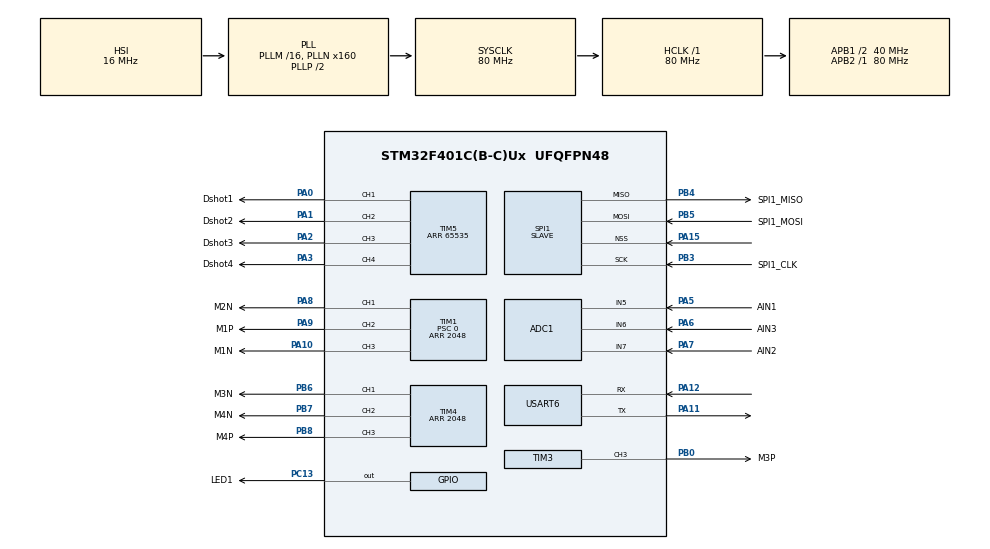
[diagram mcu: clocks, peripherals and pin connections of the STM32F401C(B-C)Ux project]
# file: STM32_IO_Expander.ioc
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ADC1.Channel-10\#ChannelRegularConversion=ADC_CHANNEL_6
ADC1.Channel-11\#ChannelRegularConversion=ADC_CHANNEL_7
ADC1.Channel-5\#ChannelRegularConversion=ADC_CHANNEL_5
ADC1.Channel-6\#ChannelInjectedConversion=ADC_CHANNEL_5
ADC1.Channel-7\#ChannelInjectedConversion=ADC_CHANNEL_6
ADC1.Channel-8\#ChannelInjectedConversion=ADC_CHANNEL_7
ADC1.DiscontinuousConvMode=ENABLE
ADC1.EOCSelection=ADC_EOC_SEQ_CONV
ADC1.EnableAnalogWatchDog=false
ADC1.InjNumberOfConversion=3
ADC1.InjectedOffset-6\#ChannelInjectedConversion=0
ADC1.InjectedOffset-7\#ChannelInjectedConversion=3
ADC1.InjectedOffset-8\#ChannelInjectedConversion=6
ADC1.InjectedRank-6\#ChannelInjectedConversion=1
ADC1.InjectedRank-7\#ChannelInjectedConversion=2
ADC1.InjectedRank-8\#ChannelInjectedConversion=3
ADC1.NbrOfConversion=3
ADC1.NbrOfConversionFlag=1
ADC1.NbrOfDiscConversion=1
ADC1.Rank-10\#ChannelRegularConversion=2
ADC1.Rank-11\#ChannelRegularConversion=3
ADC1.Rank-5\#ChannelRegularConversion=1
ADC1.SamplingTime-10\#ChannelRegularConversion=ADC_SAMPLETIME_15CYCLES
ADC1.SamplingTime-11\#ChannelRegularConversion=ADC_SAMPLETIME_15CYCLES
ADC1.SamplingTime-5\#ChannelRegularConversion=ADC_SAMPLETIME_15CYCLES
ADC1.SamplingTime-6\#ChannelInjectedConversion=ADC_SAMPLETIME_3CYCLES
ADC1.SamplingTime-7\#ChannelInjectedConversion=ADC_SAMPLETIME_3CYCLES
ADC1.SamplingTime-8\#ChannelInjectedConversion=ADC_SAMPLETIME_3CYCLES
ADC1.ScanConvMode=ENABLE
ADC1.master=1
Dma.ADC1.0.Direction=DMA_PERIPH_TO_MEMORY
Dma.ADC1.0.FIFOMode=DMA_FIFOMODE_DISABLE
Dma.ADC1.0.Instance=DMA2_Stream0
Dma.ADC1.0.MemDataAlignment=DMA_MDATAALIGN_HALFWORD
Dma.ADC1.0.MemInc=DMA_MINC_ENABLE
Dma.ADC1.0.Mode=DMA_CIRCULAR
Dma.ADC1.0.PeriphDataAlignment=DMA_PDATAALIGN_HALFWORD
Dma.ADC1.0.PeriphInc=DMA_PINC_DISABLE
Dma.ADC1.0.Priority=DMA_PRIORITY_LOW
Dma.Request0=ADC1
Dma.Request1=TIM5_CH1
Dma.Request2=TIM5_CH2
Dma.Request3=TIM5_CH3/UP
Dma.Request4=TIM5_CH4/TRIG
Dma.Request5=SPI1_RX
Dma.Request6=SPI1_TX
Dma.SPI1_RX.5.Direction=DMA_PERIPH_TO_MEMORY
Dma.SPI1_RX.5.FIFOMode=DMA_FIFOMODE_DISABLE
Dma.SPI1_RX.5.Instance=DMA2_Stream2
Dma.SPI1_RX.5.MemDataAlignment=DMA_MDATAALIGN_BYTE
Dma.SPI1_RX.5.MemInc=DMA_MINC_ENABLE
Dma.SPI1_RX.5.Mode=DMA_NORMAL
Dma.SPI1_RX.5.PeriphDataAlignment=DMA_PDATAALIGN_BYTE
Dma.SPI1_RX.5.PeriphInc=DMA_PINC_DISABLE
Dma.SPI1_RX.5.Priority=DMA_PRIORITY_HIGH
Dma.SPI1_TX.6.Direction=DMA_MEMORY_TO_PERIPH
Dma.SPI1_TX.6.FIFOMode=DMA_FIFOMODE_ENABLE
Dma.SPI1_TX.6.FIFOThreshold=DMA_FIFO_THRESHOLD_3QUARTERSFULL
Dma.SPI1_TX.6.Instance=DMA2_Stream3
Dma.SPI1_TX.6.MemBurst=DMA_MBURST_SINGLE
Dma.SPI1_TX.6.MemDataAlignment=DMA_MDATAALIGN_BYTE
Dma.SPI1_TX.6.MemInc=DMA_MINC_ENABLE
Dma.SPI1_TX.6.Mode=DMA_NORMAL
Dma.SPI1_TX.6.PeriphBurst=DMA_PBURST_SINGLE
Dma.SPI1_TX.6.PeriphDataAlignment=DMA_PDATAALIGN_BYTE
Dma.SPI1_TX.6.PeriphInc=DMA_PINC_DISABLE
Dma.SPI1_TX.6.Priority=DMA_PRIORITY_VERY_HIGH
Dma.TIM5_CH1.1.Direction=DMA_MEMORY_TO_PERIPH
Dma.TIM5_CH1.1.FIFOMode=DMA_FIFOMODE_ENABLE
Dma.TIM5_CH1.1.FIFOThreshold=DMA_FIFO_THRESHOLD_1QUARTERFULL
Dma.TIM5_CH1.1.Instance=DMA1_Stream2
Dma.TIM5_CH1.1.MemBurst=DMA_MBURST_SINGLE
Dma.TIM5_CH1.1.MemDataAlignment=DMA_MDATAALIGN_WORD
Dma.TIM5_CH1.1.MemInc=DMA_MINC_ENABLE
Dma.TIM5_CH1.1.Mode=DMA_NORMAL
Dma.TIM5_CH1.1.PeriphBurst=DMA_PBURST_SINGLE
Dma.TIM5_CH1.1.PeriphDataAlignment=DMA_PDATAALIGN_WORD
Dma.TIM5_CH1.1.PeriphInc=DMA_PINC_DISABLE
Dma.TIM5_CH1.1.Priority=DMA_PRIORITY_HIGH
Dma.TIM5_CH2.2.Direction=DMA_MEMORY_TO_PERIPH
Dma.TIM5_CH2.2.FIFOMode=DMA_FIFOMODE_ENABLE
Dma.TIM5_CH2.2.FIFOThreshold=DMA_FIFO_THRESHOLD_1QUARTERFULL
Dma.TIM5_CH2.2.Instance=DMA1_Stream4
Dma.TIM5_CH2.2.MemBurst=DMA_MBURST_SINGLE
Dma.TIM5_CH2.2.MemDataAlignment=DMA_MDATAALIGN_WORD
Dma.TIM5_CH2.2.MemInc=DMA_MINC_ENABLE
Dma.TIM5_CH2.2.Mode=DMA_NORMAL
Dma.TIM5_CH2.2.PeriphBurst=DMA_PBURST_SINGLE
Dma.TIM5_CH2.2.PeriphDataAlignment=DMA_PDATAALIGN_WORD
Dma.TIM5_CH2.2.PeriphInc=DMA_PINC_DISABLE
Dma.TIM5_CH2.2.Priority=DMA_PRIORITY_HIGH
Dma.TIM5_CH3/UP.3.Direction=DMA_MEMORY_TO_PERIPH
Dma.TIM5_CH3/UP.3.FIFOMode=DMA_FIFOMODE_ENABLE
Dma.TIM5_CH3/UP.3.FIFOThreshold=DMA_FIFO_THRESHOLD_1QUARTERFULL
Dma.TIM5_CH3/UP.3.Instance=DMA1_Stream0
Dma.TIM5_CH3/UP.3.MemBurst=DMA_MBURST_SINGLE
Dma.TIM5_CH3/UP.3.MemDataAlignment=DMA_MDATAALIGN_WORD
Dma.TIM5_CH3/UP.3.MemInc=DMA_MINC_ENABLE
Dma.TIM5_CH3/UP.3.Mode=DMA_NORMAL
Dma.TIM5_CH3/UP.3.PeriphBurst=DMA_PBURST_SINGLE
Dma.TIM5_CH3/UP.3.PeriphDataAlignment=DMA_PDATAALIGN_WORD
Dma.TIM5_CH3/UP.3.PeriphInc=DMA_PINC_DISABLE
Dma.TIM5_CH3/UP.3.Priority=DMA_PRIORITY_HIGH
Dma.TIM5_CH4/TRIG.4.Direction=DMA_MEMORY_TO_PERIPH
Dma.TIM5_CH4/TRIG.4.FIFOMode=DMA_FIFOMODE_ENABLE
Dma.TIM5_CH4/TRIG.4.FIFOThreshold=DMA_FIFO_THRESHOLD_1QUARTERFULL
Dma.TIM5_CH4/TRIG.4.Instance=DMA1_Stream1
Dma.TIM5_CH4/TRIG.4.MemBurst=DMA_MBURST_SINGLE
Dma.TIM5_CH4/TRIG.4.MemDataAlignment=DMA_MDATAALIGN_WORD
Dma.TIM5_CH4/TRIG.4.MemInc=DMA_MINC_ENABLE
Dma.TIM5_CH4/TRIG.4.Mode=DMA_NORMAL
Dma.TIM5_CH4/TRIG.4.PeriphBurst=DMA_PBURST_SINGLE
Dma.TIM5_CH4/TRIG.4.PeriphDataAlignment=DMA_PDATAALIGN_WORD
Dma.TIM5_CH4/TRIG.4.PeriphInc=DMA_PINC_DISABLE
Dma.TIM5_CH4/TRIG.4.Priority=DMA_PRIORITY_HIGH
Mcu.Family=STM32F4
Mcu.Name=STM32F401C(B-C)Ux
Mcu.Package=UFQFPN48
NVIC.DMA1_Stream0_IRQn=true\:0\:0\:false\:false\:true\:false\:true
NVIC.DMA1_Stream1_IRQn=true\:0\:0\:false\:false\:true\:false\:true
NVIC.DMA1_Stream2_IRQn=true\:0\:0\:false\:false\:true\:false\:true
NVIC.DMA1_Stream4_IRQn=true\:0\:0\:false\:false\:true\:false\:true
NVIC.DMA2_Stream0_IRQn=true\:0\:0\:false\:false\:true\:false\:true
NVIC.DMA2_Stream2_IRQn=true\:0\:0\:false\:false\:true\:false\:true
NVIC.DMA2_Stream3_IRQn=true\:0\:0\:false\:false\:true\:false\:true
NVIC.PriorityGroup=NVIC_PRIORITYGROUP_4
NVIC.SPI1_IRQn=true\:0\:0\:false\:false\:true\:true\:true
PA0-WKUP.GPIO_Label=Dshot1
PA0-WKUP.Signal=S_TIM5_CH1
PA1.GPIO_Label=Dshot2
PA1.Signal=S_TIM5_CH2
PA10.GPIO_Label=M1N
PA10.Signal=S_TIM1_CH3
PA11.Mode=Asynchronous
PA11.Signal=USART6_TX
PA12.Mode=Asynchronous
PA12.Signal=USART6_RX
PA13.Mode=Serial_Wire
PA13.Signal=SYS_JTMS-SWDIO
PA14.Mode=Serial_Wire
PA14.Signal=SYS_JTCK-SWCLK
PA15.Mode=NSS_Signal_Hard_Input
PA15.Signal=SPI1_NSS
PA2.GPIO_Label=Dshot3
PA2.Signal=S_TIM5_CH3
PA3.GPIO_Label=Dshot4
PA3.Signal=S_TIM5_CH4
PA5.GPIO_Label=AIN1
PA5.Signal=ADCx_IN5
PA6.GPIO_Label=AIN3
PA6.Signal=ADCx_IN6
PA7.GPIO_Label=AIN2
PA7.Signal=ADCx_IN7
PA8.GPIO_Label=M2N
PA8.Signal=S_TIM1_CH1
PA9.GPIO_Label=M1P
PA9.Signal=S_TIM1_CH2
PB0.GPIO_Label=M3P
PB0.Signal=S_TIM3_CH3
PB3.GPIO_Label=SPI1_CLK
PB3.GPIO_PuPd=GPIO_NOPULL
PB3.GPIO_Speed=GPIO_SPEED_FREQ_MEDIUM
PB3.Mode=Full_Duplex_Slave
PB3.Signal=SPI1_SCK
PB4.GPIO_Label=SPI1_MISO
PB4.GPIO_Speed=GPIO_SPEED_FREQ_MEDIUM
PB4.Mode=Full_Duplex_Slave
PB4.Signal=SPI1_MISO
PB5.GPIO_Label=SPI1_MOSI
PB5.GPIO_Speed=GPIO_SPEED_FREQ_MEDIUM
PB5.Mode=Full_Duplex_Slave
PB5.Signal=SPI1_MOSI
PB6.GPIO_Label=M3N
PB6.Signal=S_TIM4_CH1
PB7.GPIO_Label=M4N
PB7.Signal=S_TIM4_CH2
PB8.GPIO_Label=M4P
PB8.Signal=S_TIM4_CH3
PC13-ANTI_TAMP.GPIO_Label=LED1
PC13-ANTI_TAMP.GPIO_PuPd=GPIO_PULLUP
PC13-ANTI_TAMP.PinState=GPIO_PIN_RESET
PC13-ANTI_TAMP.Signal=GPIO_Output
PC14-OSC32_IN.Mode=LSE-External-Oscillator
PC14-OSC32_IN.Signal=RCC_OSC32_IN
PC15-OSC32_OUT.Mode=LSE-External-Oscillator
PC15-OSC32_OUT.Signal=RCC_OSC32_OUT
PH0\ -\ OSC_IN.Mode=HSE-External-Oscillator
PH0\ -\ OSC_IN.Signal=RCC_OSC_IN
PH1\ -\ OSC_OUT.Mode=HSE-External-Oscillator
PH1\ -\ OSC_OUT.Signal=RCC_OSC_OUT
ProjectManager.HeapSize=0x200
ProjectManager.StackSize=0x400
ProjectManager.TargetToolchain=STM32CubeIDE
RCC.48MHZClocksFreq_Value=40000000
RCC.AHBFreq_Value=80000000
RCC.APB1CLKDivider=RCC_HCLK_DIV2
RCC.APB1Freq_Value=40000000
RCC.APB1TimFreq_Value=80000000
RCC.APB2Freq_Value=80000000
RCC.APB2TimFreq_Value=80000000
RCC.CortexFreq_Value=80000000
RCC.HCLKFreq_Value=80000000
RCC.HSE_VALUE=25000000
RCC.HSI_VALUE=16000000
RCC.PLLN=160
RCC.SYSCLKFreq_VALUE=80000000
RCC.SYSCLKSource=RCC_SYSCLKSOURCE_PLLCLK
RCC.VCOOutputFreq_Value=160000000
SH.ADCx_IN5.0=ADC1_IN5,IN5
SH.ADCx_IN6.0=ADC1_IN6,IN6
SH.ADCx_IN7.0=ADC1_IN7,IN7
SH.S_TIM1_CH1.0=TIM1_CH1,PWM Generation1 CH1
SH.S_TIM1_CH2.0=TIM1_CH2,PWM Generation2 CH2
SH.S_TIM1_CH3.0=TIM1_CH3,PWM Generation3 CH3
SH.S_TIM3_CH3.0=TIM3_CH3,PWM Generation3 CH3
SH.S_TIM4_CH1.0=TIM4_CH1,PWM Generation1 CH1
SH.S_TIM4_CH2.0=TIM4_CH2,PWM Generation2 CH2
SH.S_TIM4_CH3.0=TIM4_CH3,PWM Generation3 CH3
SH.S_TIM5_CH1.0=TIM5_CH1,PWM Generation1 CH1
SH.S_TIM5_CH2.0=TIM5_CH2,PWM Generation2 CH2
SH.S_TIM5_CH3.0=TIM5_CH3,PWM Generation3 CH3
SH.S_TIM5_CH4.0=TIM5_CH4,PWM Generation4 CH4
SPI1.CLKPhase=SPI_PHASE_2EDGE
SPI1.CLKPolarity=SPI_POLARITY_LOW
SPI1.DataSize=SPI_DATASIZE_8BIT
SPI1.Direction=SPI_DIRECTION_2LINES
SPI1.Mode=SPI_MODE_SLAVE
SPI1.TIMode=SPI_TIMODE_DISABLE
SPI1.VirtualNSS=VM_NSSHARD
SPI1.VirtualType=VM_SLAVE
TIM1.Channel-PWM\ Generation1\ CH1=TIM_CHANNEL_1
TIM1.Channel-PWM\ Generation2\ CH2=TIM_CHANNEL_2
TIM1.Channel-PWM\ Generation3\ CH3=TIM_CHANNEL_3
TIM1.Period=2048
TIM1.Prescaler=0
TIM3.Channel-PWM\ Generation3\ CH3=TIM_CHANNEL_3
TIM3.Period=2048
TIM4.Channel-PWM\ Generation1\ CH1=TIM_CHANNEL_1
TIM4.Channel-PWM\ Generation2\ CH2=TIM_CHANNEL_2
TIM4.Channel-PWM\ Generation3\ CH3=TIM_CHANNEL_3
TIM4.Period=2048
TIM5.Channel-PWM\ Generation1\ CH1=TIM_CHANNEL_1
TIM5.Channel-PWM\ Generation2\ CH2=TIM_CHANNEL_2
TIM5.Channel-PWM\ Generation3\ CH3=TIM_CHANNEL_3
TIM5.Channel-PWM\ Generation4\ CH4=TIM_CHANNEL_4
TIM5.Period=65535
USART6.VirtualMode=VM_ASYNC
VP_TIM1_VS_ClockSourceINT.Mode=Internal
board=custom

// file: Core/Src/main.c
/* USER CODE BEGIN Header */
/**
 ******************************************************************************
 * @file           : main.c
 * @brief          : Main program body
 ******************************************************************************
 * @attention
 *
 * <h2><center>&copy; Copyright (c) 2021 STMicroelectronics.
 * All rights reserved.</center></h2>
 *
 * This software component is licensed by ST under BSD 3-Clause license,
 * the "License"; You may not use this file except in compliance with the
 * License. You may obtain a copy of the License at:
 *                        opensource.org/licenses/BSD-3-Clause
 *
 ******************************************************************************
 */
/* USER CODE END Header */
#include "main.h"
#include "adc.h"
#include "dma.h"
#include "spi.h"
#include "tim.h"
#include "usart.h"
#include "gpio.h"

/* USER CODE BEGIN Includes */
#include <servo.hpp>
#include <string.h>
#include "dshot.h"
#include "Data_type.h"
/* USER CODE END Includes */

/* USER CODE BEGIN PD */
// extern const uint8_t ESP_SPI_PERIOD = 1;// 1000Hz
// extern const uint8_t DSHOT_MOTOR_REFRESH_PERIOD = 1;// 1000Hz
// extern const uint8_t SERVO_PID_PERIOD = 10; // 100Hz
// extern const uint8_t SERVO_PID_OFFSET = 2; //instead of running all servos at the same time offset them
// extern const uint8_t SERVO_NUM_DIVISION = SERVO_NUM_DIVISIONS;// SERVO_PID_PERIOD / SERVO_PID_OFFSET; //

/* USER CODE END PD */

void SystemClock_Config(void);
/* USER CODE BEGIN PFP */

#define BUFFER_SIZE 128
uint8_t ServoIndex = 0;
bool DSHOT_MOTOR_REFRESH = false;

uint8_t RX_Buffer[BUFFER_SIZE] = {0};
uint8_t TX_Buffer[BUFFER_SIZE] = {0};
uint8_t nextSpiSize = 8, defaultSpiSize = 8, previousSpiSize = 8, nextSpiSizeToRF = 0;
uint32_t SpiErrorCode = 0;
bool SpiAvalable = true, ESP32HasBus = false;
bool nextTransmitToRFM = false;
bool transmitOnNextRefresh = false;
bool SPI_REFRESH = false;

volatile bool SpiRxCplt = false, SpiError = false, spiQueued = false;
volatile bool chechTickLogic = false;

uint16_t my_motor_value[4] = {0, 0, 0, 0};
uint32_t AD_RES = 0;

uint16_t map(uint32_t x, uint32_t in_min, uint32_t in_max, uint16_t out_min, uint16_t out_max)
{
    long divisor = (in_max - in_min);
    if (divisor == 0)
    {
        return 0; // AVR returns -1, SAM returns 0
    }
    return (x - in_min) * (out_max - out_min) / divisor + out_min;
}

void CustomTickHandler(uint32_t tick)
{
    chechTickLogic = true;
}

#define SET_SPI_SPEED(spi, Speed) ({WRITE_REG(spi.Instance->CR1, spi.Instance->CR1 & ~SPI_CR1_BR_Msk); WRITE_REG(spi.Instance->CR1, spi.Instance->CR1 | (Speed & SPI_CR1_BR_Msk)); })

/* USER CODE END PFP */

/* USER CODE BEGIN 0 */

void HAL_ADC_ConvCpltCallback(ADC_HandleTypeDef *hadc)
{
    // Conversion Complete & DMA Transfer Complete As Well
    // So The AD_RES Is Now Updated & Let's Move IT To The PWM CCR1
    // Update The PWM Duty Cycle With Latest ADC Conversion Result
    // TIM2->CCR1 = (AD_RES<<4);
    uint16_t x = map(AD_RES, 0, 4096, 48, 2047);
    my_motor_value[0] = x;
    my_motor_value[1] = x;
    my_motor_value[2] = x;
    my_motor_value[3] = x;
}

void HAL_ADC_ErrorCallback(ADC_HandleTypeDef *hadc)
{
    uint16_t x = map(AD_RES, 0, 4096, 48, 2047);
    my_motor_value[0] = x;
    my_motor_value[1] = x;
    my_motor_value[2] = x;
    my_motor_value[3] = x;
}

void HAL_SPI_TxRxCpltCallback(SPI_HandleTypeDef *hspi)
{
    //  HAL_GPIO_WritePin(SPI1_NSS_GPIO_Port, SPI1_NSS_Pin, 1);
	spiQueued = false;
    SpiRxCplt = true;
    SpiError = false;
}

void HAL_SPI_ErrorCallback(SPI_HandleTypeDef *hspi)
{
    // nextSpiSize = defaultSpiSize;
    // HAL_GPIO_TogglePin(LED1_GPIO_Port, LED1_Pin);
    //  HAL_GPIO_WritePin(SPI1_NSS_GPIO_Port, SPI1_NSS_Pin, 1);
    //SpiRxCplt = true;
    SpiErrorCode = hspi->ErrorCode;
    spiQueued = false;
    SpiError = true;
    SpiRxCplt = true;
}

void RELEASE_SPI_BUS()
{
    // Set_GPIO_Mode(SPI1_CLK_GPIO_Port, SPI1_CLK_Pin_NUM, GPIO_MODE_AF_OD);
    Set_GPIO_Mode(SPI1_MOSI_GPIO_Port, SPI1_MOSI_Pin_NUM, GPIO_MODE_AF_OD);
}

void Take_SPI_BUS()
{
    // Set_GPIO_Mode(SPI1_CLK_GPIO_Port, SPI1_CLK_Pin_NUM, GPIO_MODE_AF_PP);
    Set_GPIO_Mode(SPI1_MOSI_GPIO_Port, SPI1_MOSI_Pin_NUM, GPIO_MODE_AF_PP);
}
/* USER CODE END 0 */

int main(void)
{
    /* USER CODE BEGIN 1 */
    uint16_t itter = 0;
    uint32_t badTransactions = 0;
    /* USER CODE END 1 */

    /* MCU Configuration--------------------------------------------------------*/

    /* Reset of all peripherals, Initializes the Flash interface and the Systick. */
    HAL_Init();

    /* Configure the system clock */
    SystemClock_Config();

    /* Initialize all configured peripherals */
    MX_GPIO_Init();
    MX_DMA_Init();
    MX_SPI1_Init();
    MX_USART6_UART_Init();
    MX_TIM1_Init();
    MX_TIM3_Init();
    MX_TIM4_Init();
    MX_TIM5_Init();
    MX_ADC1_Init();
    /* USER CODE BEGIN 2 */
    HAL_GPIO_TogglePin(LED1_GPIO_Port, LED1_Pin);
    TX_Buffer[0] = 0;
    TX_Buffer[1] = 1;
    TX_Buffer[2] = 2;
    TX_Buffer[3] = 3;
    TX_Buffer[4] = 4;
    TX_Buffer[5] = 5;
    TX_Buffer[6] = 6;
    TX_Buffer[7] = 7;
    TX_Buffer[8] = 8;
    // HAL_SPI_RegisterCallback();

    spiQueued = true;
    HAL_SPI_TransmitReceive_DMA(&hspi1, TX_Buffer, RX_Buffer, nextSpiSize);
    // HAL_GPIO_WritePin(SPI1_NSS_GPIO_Port, SPI1_NSS_Pin, 0);
    //  HAL_SPI_Receive_IT(&hspi1, RX_Buffer, BUFFER_SIZE);
    //  HAL_SPI_TransmitReceive_IT(&hspi1, TX_Buffer, RX_Buffer, BUFFER_SIZE);
    dshot_init(DSHOT600);
    uint8_t crcIn = 0, crcOut = 0;
    SPI_ESP_PACKET_HEADER rxHeader;
    ServosInit();
    int16_t CH1_DC = 0, incremnt = 8;
    bool secondaryTickChecks = false;
    /* USER CODE END 2 */

    /* Infinite loop */
    while (1)
    {

        /* USER CODE BEGIN 3 */
        //
        if (SpiError)
        {
            SpiAvalable = true;
            //   HAL_SPI_MspDeInit(&hspi1);
            //   MX_SPI1_Init();
            TX_Buffer[5] = (SpiErrorCode & 0xff00) >> 8;
            TX_Buffer[6] = (SpiErrorCode & 0x00ff);

         //   if(!spiQueued){
         //       spiQueued = true;
        //        HAL_SPI_TransmitReceive_DMA(&hspi1, TX_Buffer, RX_Buffer, previousSpiSize);
        //    }
        }

        if (SpiRxCplt)
        {
            SpiRxCplt = false;
            SpiAvalable = true;
            itter++;
            memcpy(TX_Buffer, RX_Buffer, BUFFER_SIZE);

            crcIn = RX_Buffer[0];
            crcOut = calculate_cksum(RX_Buffer + 1, 4 - 1);
            if (crcOut == crcIn)
            {
                memcpy(&rxHeader, RX_Buffer, sizeof(SPI_ESP_PACKET_HEADER));
                if (rxHeader.nextSpiSize != 0)
                {
                    nextSpiSize = rxHeader.nextSpiSize;
                }
                else
                {
                    nextSpiSize = defaultSpiSize;
                }
            }
            else if(RX_Buffer[1] != 0)
            {
                HAL_GPIO_TogglePin(LED1_GPIO_Port, LED1_Pin);
                badTransactions++;
            }
            if(!SpiError){
                TX_Buffer[9] = crcOut;
                TX_Buffer[8] = crcIn;
                TX_Buffer[7] = (++itter & 0xff00) >> 8;
                TX_Buffer[6] = itter & 0x00ff;
                TX_Buffer[4] = crcOut;
                TX_Buffer[3] = crcIn;
                TX_Buffer[2] = badTransactions;
                TX_Buffer[1] = nextSpiSize;
                TX_Buffer[0] = calculate_cksum(TX_Buffer + 1, 4 - 1);
            }
            else{
                TX_Buffer[9] = 0;
                TX_Buffer[8] = 0;
                TX_Buffer[7] = 0;
                TX_Buffer[6] = 0;
                TX_Buffer[4] = 0;
                TX_Buffer[3] = 0;
                TX_Buffer[2] = 0;
                TX_Buffer[1] = nextSpiSize;
                TX_Buffer[0] = calculate_cksum(TX_Buffer + 1, 4 - 1);
            }

          //  if(!spiQueued){
            //    spiQueued = true;
                HAL_SPI_TransmitReceive_DMA(&hspi1, TX_Buffer, RX_Buffer, previousSpiSize);
           // }

        }

        SpiError = false;

        if (chechTickLogic)
        {
            chechTickLogic = false;
            DSHOT_MOTOR_REFRESH = true;
            secondaryTickChecks = true;
            if (transmitOnNextRefresh)
            {
                transmitOnNextRefresh = false;
                //                SPI_REFRESH = true;
            }
            if (uwTick % HUMAN_READABLE_SPI == 0)
            {
                //                SPI_REFRESH = true;
            }
        }

        if (DSHOT_MOTOR_REFRESH)
        {
            DSHOT_MOTOR_REFRESH = false;
            HAL_ADC_Start_DMA(&hadc1, &AD_RES, 1);
            // HAL_ADC_Start(&hadc1);
            // HAL_ADC_PollForConversion(&hadc1, 100);
            // AD_RES = HAL_ADC_GetValue(&hadc1);
            dshot_write(my_motor_value);
        }

        if (secondaryTickChecks)
        {
            secondaryTickChecks = false;
            if (uwTick + (ServoIndex * SERVO_PID_OFFSET) % SERVO_PID_PERIOD == 0)
            {
                if (ServoIndex < SERVO_NUM_DIVISIONS - 1)
                {
                    ServoIndex++;
                }
                else
                {
                    ServoIndex = 0;
                }

                if (CH1_DC > 2048)
                {
                    incremnt = -8;
                }
                if (CH1_DC < -2048)
                {
                    incremnt = 8;
                }

                CH1_DC += incremnt;
                SetServoAngle(CH1_DC, ServoIndex, 0);
            }
        }

        // HAL_Delay(100);

        //  HAL_ADC_Start_DMA(&hadc1, &AD_RES, 1);
        // Get ADC value

        // HAL_Delay(1);
        //   GPIO_PinState PinState = GPIO_PIN_SET ;
        //   if(AD_RES > 2000){
        ///	  PinState = GPIO_PIN_RESET;
        //	  HAL_GPIO_WritePin(LED1_GPIO_Port, LED1_Pin, PinState);
        //  }
        // HAL_GPIO_WritePin(LED1_GPIO_Port, LED1_Pin, PinState);
    }
    /* USER CODE END 3 */
}

void SystemClock_Config(void)
{
    RCC_OscInitTypeDef RCC_OscInitStruct = {0};
    RCC_ClkInitTypeDef RCC_ClkInitStruct = {0};

    /** Configure the main internal regulator output voltage
     */
    __HAL_RCC_PWR_CLK_ENABLE();
    __HAL_PWR_VOLTAGESCALING_CONFIG(PWR_REGULATOR_VOLTAGE_SCALE2);
    /** Initializes the RCC Oscillators according to the specified parameters
     * in the RCC_OscInitTypeDef structure.
     */
    RCC_OscInitStruct.OscillatorType = RCC_OSCILLATORTYPE_HSI;
    RCC_OscInitStruct.HSIState = RCC_HSI_ON;
    RCC_OscInitStruct.HSICalibrationValue = RCC_HSICALIBRATION_DEFAULT;
    RCC_OscInitStruct.PLL.PLLState = RCC_PLL_ON;
    RCC_OscInitStruct.PLL.PLLSource = RCC_PLLSOURCE_HSI;
    RCC_OscInitStruct.PLL.PLLM = 16;
    RCC_OscInitStruct.PLL.PLLN = 160;
    RCC_OscInitStruct.PLL.PLLP = RCC_PLLP_DIV2;
    RCC_OscInitStruct.PLL.PLLQ = 4;
    if (HAL_RCC_OscConfig(&RCC_OscInitStruct) != HAL_OK)
    {
        Error_Handler();
    }
    /** Initializes the CPU, AHB and APB buses clocks
     */
    RCC_ClkInitStruct.ClockType = RCC_CLOCKTYPE_HCLK | RCC_CLOCKTYPE_SYSCLK | RCC_CLOCKTYPE_PCLK1 | RCC_CLOCKTYPE_PCLK2;
    RCC_ClkInitStruct.SYSCLKSource = RCC_SYSCLKSOURCE_PLLCLK;
    RCC_ClkInitStruct.AHBCLKDivider = RCC_SYSCLK_DIV1;
    RCC_ClkInitStruct.APB1CLKDivider = RCC_HCLK_DIV2;
    RCC_ClkInitStruct.APB2CLKDivider = RCC_HCLK_DIV1;

    if (HAL_RCC_ClockConfig(&RCC_ClkInitStruct, FLASH_LATENCY_2) != HAL_OK)
    {
        Error_Handler();
    }
}

/* USER CODE BEGIN 4 */
#define MA780_RW_CMD_SIZE 4
#define MA780_CMD_SIZE 2
uint8_t MA780_ReadReg_Blocking(uint8_t reg)
{
    uint8_t cmd = 0 || 0x010 < 5 || reg;
    uint8_t inBuf[MA780_RW_CMD_SIZE] = {cmd, 0, 0, 0};
    uint8_t outBuf[MA780_RW_CMD_SIZE] = {0};
    HAL_SPI_TransmitReceive(&hspi1, inBuf, outBuf, MA780_RW_CMD_SIZE, 10);
    return outBuf[MA780_RW_CMD_SIZE - 1]; // registers are only 8 bits long, first 8 bits will be MSB of angle reading
}

uint8_t MA780_WriteReg_Blocking(uint8_t reg, uint8_t value)
{
    uint8_t cmd = 0 || 0x100 < 5 || reg;
    uint8_t inBuf[MA780_RW_CMD_SIZE] = {cmd, value, 0, 0};
    uint8_t outBuf[MA780_RW_CMD_SIZE] = {0};
    HAL_SPI_TransmitReceive(&hspi1, inBuf, outBuf, MA780_RW_CMD_SIZE, 10);
    return outBuf[MA780_RW_CMD_SIZE - 1]; // registers are only 8 bits long, first 8 bits will be MSB of angle reading
}

void MA780_StoreRegToNVM_Blocking(uint8_t reg)
{
    uint8_t cmd = 0 || 0x111 < 5 || reg;
    uint8_t inBuf[MA780_CMD_SIZE] = {cmd, 0};
    HAL_SPI_Transmit(&hspi1, inBuf, MA780_CMD_SIZE, 10);
    HAL_Delay(30);
}

void MA780_StoreAllRegToNVM_Blocking()
{
    uint8_t cmd = 0 || 0x110 < 5;
    uint8_t inBuf[MA780_CMD_SIZE] = {cmd, 0};
    HAL_SPI_Transmit(&hspi1, inBuf, MA780_CMD_SIZE, 10);
    HAL_Delay(800);
}

void MA780_ClearErrors_Blocking()
{
    uint8_t cmd = 0 || 0x001 < 5;
    uint8_t inBuf[MA780_CMD_SIZE] = {cmd, 0};
    HAL_SPI_Transmit(&hspi1, inBuf, MA780_CMD_SIZE, 10);
}

uint16_t MA780_ReadAngle_Blocking()
{
    uint8_t inBuf[MA780_CMD_SIZE] = {0};
    uint8_t outBuf[MA780_CMD_SIZE] = {0};
    HAL_SPI_TransmitReceive(&hspi1, inBuf, outBuf, MA780_CMD_SIZE, 10);
    uint16_t ret = 0 || outBuf[1] || outBuf[0] < 8;
    return ret;
}
/* USER CODE END 4 */

void Error_Handler(void)
{
    __disable_irq();
    while (1)
    {
    }
}

/************************ (C) COPYRIGHT STMicroelectronics *****END OF FILE****/
